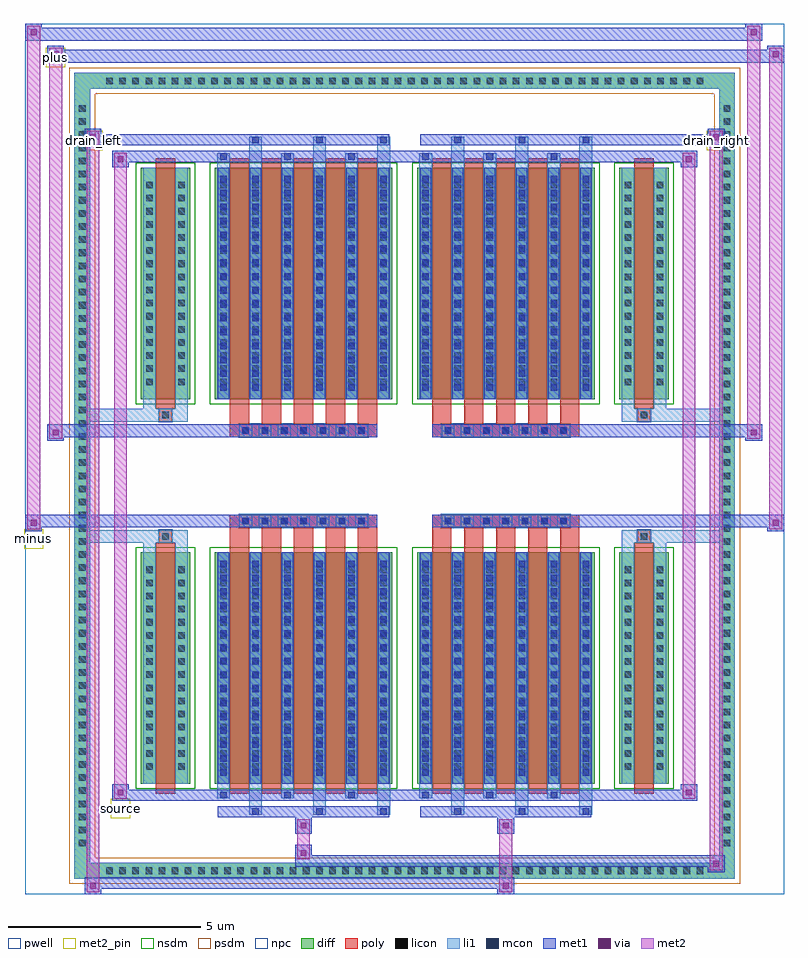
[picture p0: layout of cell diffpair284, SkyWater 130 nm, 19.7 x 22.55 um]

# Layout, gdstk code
import gdstk
lib = gdstk.Library(unit=1e-6, precision=5e-09)
def R(c, l, rs):  # rectangles x0, y0, x1, y1
    for r in rs: c.add(gdstk.rectangle(r[:2], r[2:], *l))
def A(c, l, x, y, w, h, nx, ny, dx, dy):  # array of equal rectangles
    R(c, l, [(x+i*dx, y+j*dy, x+i*dx+w, y+j*dy+h) for i in range(nx) for j in range(ny)])
def P(c, l, *ps):  # polygons
    for p in ps: c.add(gdstk.Polygon(p, *l))
pwell = (64, 44)
diff = (65, 20)
poly = (66, 20)
licon = (66, 44)
li1 = (67, 20)
mcon = (67, 44)
met1 = (68, 20)
via = (68, 44)
met2_pin = (69, 16)
met2 = (69, 20)
nsdm = (93, 44)
psdm = (94, 20)
npc = (95, 20)

diffpair284 = lib.new_cell('diffpair284')
R(diffpair284, pwell, [(-9.83,-10.84,9.83,11.71), (-7.15,-9.03,-0.01,-0.805), (0.01,-9.03,7.15,-0.805), (-7.15,0.805,-0.01,9.03), (0.01,0.805,7.15,9.03)])
A(diffpair284, diff, -7.855, -10.44, 0.41, 0.41, 46, 2, 0.34, 20.47)
A(diffpair284, diff, -8.56, -9.725, 0.41, 0.41, 1, 57, 0, 0.34)
A(diffpair284, diff, 8.15, -9.725, 0.41, 0.41, 1, 57, 0, 0.34)
R(diffpair284, diff, [(-7.855,-10.44,7.855,-10.03), (-8.56,-9.725,-8.15,9.725), (8.15,-9.725,8.56,9.725), (-6.84,-7.985,-5.56,-1.985), (-4.92,-7.985,-0.32,-1.985), (0.32,-7.985,4.92,-1.985), (5.56,-7.985,6.84,-1.985), (-6.84,1.985,-5.56,7.985), (-4.92,1.985,-0.32,7.985), (0.32,1.985,4.92,7.985), (5.56,1.985,6.84,7.985), (-7.855,10.03,7.855,10.44)])
P(diffpair284, diff, [(8.56,10.44),(-8.56,10.44),(-8.56,-10.03),(-8.15,-10.03),(-8.15,10.03),(8.15,10.03),(8.15,-10.03),(-8.15,-10.03),(-8.56,-10.03),(-8.56,-10.44),(8.56,-10.44)])
A(diffpair284, poly, -4.53, -8.235, 0.5, 6.5, 5, 2, 0.83, 9.97)
A(diffpair284, poly, 0.71, -8.235, 0.5, 6.5, 5, 2, 0.83, 9.97)
A(diffpair284, poly, -4.53, -1.735, 0.5, 0.4, 5, 2, 0.83, 3.07)
A(diffpair284, poly, 0.71, -1.735, 0.5, 0.4, 5, 2, 0.83, 3.07)
A(diffpair284, poly, -4.285, -1.335, 0.33, 0.33, 7, 2, 0.5, 2.34)
A(diffpair284, poly, 0.955, -1.335, 0.33, 0.33, 7, 2, 0.5, 2.34)
R(diffpair284, poly, [(-6.45,-8.235,-5.95,-1.735), (5.95,-8.235,6.45,-1.735), (-6.365,-1.735,-6.035,-1.405), (-6.365,-1.735,-6.035,-1.405), (6.035,-1.735,6.365,-1.405), (6.035,-1.735,6.365,-1.405), (-4.53,-1.335,-0.71,-1.005), (0.71,-1.335,4.53,-1.005), (-4.53,1.005,-0.71,1.335), (0.71,1.005,4.53,1.335), (-6.365,1.405,-6.035,1.735), (-6.365,1.405,-6.035,1.735), (6.035,1.405,6.365,1.735), (6.035,1.405,6.365,1.735), (-6.45,1.735,-5.95,8.235), (5.95,1.735,6.45,8.235)])
A(diffpair284, licon, -7.735, -10.32, 0.17, 0.17, 46, 2, 0.34, 20.47)
A(diffpair284, licon, -8.44, -9.605, 0.17, 0.17, 1, 57, 0, 0.34)
A(diffpair284, licon, 8.27, -9.605, 0.17, 0.17, 1, 57, 0, 0.34)
A(diffpair284, licon, -6.7, -7.62, 0.17, 0.17, 1, 16, 0, 0.34)
A(diffpair284, licon, -5.87, -7.62, 0.17, 0.17, 1, 16, 0, 0.34)
A(diffpair284, licon, -4.78, -7.62, 0.17, 0.17, 6, 16, 0.83, 0.34)
A(diffpair284, licon, 0.46, -7.62, 0.17, 0.17, 6, 16, 0.83, 0.34)
A(diffpair284, licon, 5.7, -7.62, 0.17, 0.17, 1, 16, 0, 0.34)
A(diffpair284, licon, 6.53, -7.62, 0.17, 0.17, 1, 16, 0, 0.34)
A(diffpair284, licon, -4.205, -1.255, 0.17, 0.17, 7, 2, 0.5, 2.34)
A(diffpair284, licon, 1.035, -1.255, 0.17, 0.17, 7, 2, 0.5, 2.34)
A(diffpair284, licon, -6.7, 2.35, 0.17, 0.17, 1, 16, 0, 0.34)
A(diffpair284, licon, -5.87, 2.35, 0.17, 0.17, 1, 16, 0, 0.34)
A(diffpair284, licon, -4.78, 2.35, 0.17, 0.17, 6, 16, 0.83, 0.34)
A(diffpair284, licon, 0.46, 2.35, 0.17, 0.17, 6, 16, 0.83, 0.34)
A(diffpair284, licon, 5.7, 2.35, 0.17, 0.17, 1, 16, 0, 0.34)
A(diffpair284, licon, 6.53, 2.35, 0.17, 0.17, 1, 16, 0, 0.34)
R(diffpair284, licon, [(-6.285,-1.655,-6.115,-1.485), (6.115,-1.655,6.285,-1.485), (-6.285,1.485,-6.115,1.655), (6.115,1.485,6.285,1.655)])
A(diffpair284, li1, -7.815, -10.4, 0.33, 0.33, 46, 2, 0.34, 20.47)
A(diffpair284, li1, -8.52, -9.685, 0.33, 0.33, 1, 57, 0, 0.34)
A(diffpair284, li1, 8.19, -9.685, 0.33, 0.33, 1, 57, 0, 0.34)
A(diffpair284, li1, -4.03, -8.79, 0.33, 0.805, 3, 2, 1.66, 16.775)
A(diffpair284, li1, -3.95, -8.79, 0.17, 0.17, 3, 2, 1.66, 17.41)
A(diffpair284, li1, 1.21, -8.79, 0.33, 0.805, 3, 2, 1.66, 16.775)
A(diffpair284, li1, 1.29, -8.79, 0.17, 0.17, 3, 2, 1.66, 17.41)
A(diffpair284, li1, -4.86, -8.36, 0.33, 0.375, 3, 2, 1.66, 16.345)
A(diffpair284, li1, -4.78, -8.36, 0.17, 0.17, 3, 2, 1.66, 16.55)
A(diffpair284, li1, 0.38, -8.36, 0.33, 0.375, 3, 2, 1.66, 16.345)
A(diffpair284, li1, 0.46, -8.36, 0.17, 0.17, 3, 2, 1.66, 16.55)
A(diffpair284, li1, -4.86, -7.985, 0.33, 6, 6, 2, 0.83, 9.97)
A(diffpair284, li1, 0.38, -7.985, 0.33, 6, 6, 2, 0.83, 9.97)
A(diffpair284, li1, -4.78, -7.77, 0.17, 0.17, 6, 16, 0.83, 0.36)
A(diffpair284, li1, -4.78, -7.77, 0.17, 5.57, 6, 2, 0.83, 9.97)
A(diffpair284, li1, 0.46, -7.77, 0.17, 0.17, 6, 16, 0.83, 0.36)
A(diffpair284, li1, 0.46, -7.77, 0.17, 5.57, 6, 2, 0.83, 9.97)
A(diffpair284, li1, -6.78, -7.7, 0.33, 0.33, 1, 16, 0, 0.34)
A(diffpair284, li1, -5.95, -7.7, 0.33, 0.33, 1, 16, 0, 0.34)
A(diffpair284, li1, -4.86, -7.7, 0.33, 0.33, 6, 16, 0.83, 0.34)
A(diffpair284, li1, 0.38, -7.7, 0.33, 0.33, 6, 16, 0.83, 0.34)
A(diffpair284, li1, 5.62, -7.7, 0.33, 0.33, 1, 16, 0, 0.34)
A(diffpair284, li1, 6.45, -7.7, 0.33, 0.33, 1, 16, 0, 0.34)
A(diffpair284, li1, -4.285, -1.335, 0.33, 0.33, 7, 2, 0.5, 2.34)
A(diffpair284, li1, 0.955, -1.335, 0.33, 0.33, 7, 2, 0.5, 2.34)
A(diffpair284, li1, -4.78, 2.2, 0.17, 0.17, 6, 16, 0.83, 0.36)
A(diffpair284, li1, 0.46, 2.2, 0.17, 0.17, 6, 16, 0.83, 0.36)
A(diffpair284, li1, -6.78, 2.27, 0.33, 0.33, 1, 16, 0, 0.34)
A(diffpair284, li1, -5.95, 2.27, 0.33, 0.33, 1, 16, 0, 0.34)
A(diffpair284, li1, -4.86, 2.27, 0.33, 0.33, 6, 16, 0.83, 0.34)
A(diffpair284, li1, 0.38, 2.27, 0.33, 0.33, 6, 16, 0.83, 0.34)
A(diffpair284, li1, 5.62, 2.27, 0.33, 0.33, 1, 16, 0, 0.34)
A(diffpair284, li1, 6.45, 2.27, 0.33, 0.33, 1, 16, 0, 0.34)
R(diffpair284, li1, [(-8.56,-10.44,-8.15,-10.03), (-8.56,-10.44,-8.15,-10.03), (-8.15,-10.44,8.15,-10.03), (8.15,-10.44,8.56,-10.03), (8.15,-10.44,8.56,-10.03), (-8.56,-10.03,-8.15,10.03), (8.15,-10.03,8.56,10.03), (-6.78,-7.985,-6.45,-1.985), (-5.95,-7.985,-5.62,-1.985), (5.62,-7.985,5.95,-1.985), (6.45,-7.985,6.78,-1.985), (-6.78,-1.985,-6.45,-1.405), (-5.95,-1.985,-5.62,-1.405), (5.62,-1.985,5.95,-1.405), (6.45,-1.985,6.78,-1.405), (-8.56,-1.735,-6.365,-1.405), (-6.78,-1.735,-6.365,-1.405), (-6.365,-1.735,-6.035,-1.405), (-6.035,-1.735,-5.62,-1.405), (5.62,-1.735,6.035,-1.405), (6.035,-1.735,6.365,-1.405), (6.035,-1.735,8.56,-1.405), (6.365,-1.735,6.78,-1.405), (-8.56,1.405,-6.365,1.735), (-6.78,1.405,-6.365,1.735), (-6.78,1.405,-6.45,1.985), (-6.365,1.405,-6.035,1.735), (-6.035,1.405,-5.62,1.735), (-5.95,1.405,-5.62,1.985), (5.62,1.405,6.035,1.735), (5.62,1.405,5.95,1.985), (6.035,1.405,6.365,1.735), (6.035,1.405,8.56,1.735), (6.365,1.405,6.78,1.735), (6.45,1.405,6.78,1.985), (-6.78,1.985,-6.45,7.985), (-5.95,1.985,-5.62,7.985), (5.62,1.985,5.95,7.985), (6.45,1.985,6.78,7.985), (-8.56,10.03,-8.15,10.44), (-8.56,10.03,-8.15,10.44), (-8.15,10.03,8.15,10.44), (8.15,10.03,8.56,10.44), (8.15,10.03,8.56,10.44)])
A(diffpair284, mcon, -3.95, -8.79, 0.17, 0.17, 3, 2, 1.66, 17.41)
A(diffpair284, mcon, 1.29, -8.79, 0.17, 0.17, 3, 2, 1.66, 17.41)
A(diffpair284, mcon, -4.78, -8.36, 0.17, 0.17, 3, 2, 1.66, 16.55)
A(diffpair284, mcon, 0.46, -8.36, 0.17, 0.17, 3, 2, 1.66, 16.55)
A(diffpair284, mcon, -4.78, -7.77, 0.17, 0.17, 6, 16, 0.83, 0.36)
A(diffpair284, mcon, 0.46, -7.77, 0.17, 0.17, 6, 16, 0.83, 0.36)
A(diffpair284, mcon, -4.205, -1.255, 0.17, 0.17, 7, 2, 0.5, 2.34)
A(diffpair284, mcon, 1.035, -1.255, 0.17, 0.17, 7, 2, 0.5, 2.34)
A(diffpair284, mcon, -4.78, 2.2, 0.17, 0.17, 6, 16, 0.83, 0.36)
A(diffpair284, mcon, 0.46, 2.2, 0.17, 0.17, 6, 16, 0.83, 0.36)
A(diffpair284, met1, -4.01, -8.85, 0.29, 0.29, 3, 2, 1.66, 17.41)
A(diffpair284, met1, 1.23, -8.85, 0.29, 0.29, 3, 2, 1.66, 17.41)
A(diffpair284, met1, -4.84, -8.42, 0.29, 0.29, 3, 2, 1.66, 16.55)
A(diffpair284, met1, 0.4, -8.42, 0.29, 0.29, 3, 2, 1.66, 16.55)
A(diffpair284, met1, -4.84, -7.985, 0.29, 6, 6, 2, 0.83, 9.97)
A(diffpair284, met1, 0.4, -7.985, 0.29, 6, 6, 2, 0.83, 9.97)
A(diffpair284, met1, -4.84, -7.83, 0.29, 0.29, 6, 16, 0.83, 0.36)
A(diffpair284, met1, 0.4, -7.83, 0.29, 0.29, 6, 16, 0.83, 0.36)
A(diffpair284, met1, -4.265, -1.315, 0.29, 0.29, 7, 2, 0.5, 2.34)
A(diffpair284, met1, 0.975, -1.315, 0.29, 0.29, 7, 2, 0.5, 2.34)
A(diffpair284, met1, -4.84, 2.14, 0.29, 0.29, 6, 16, 0.83, 0.36)
A(diffpair284, met1, 0.4, 2.14, 0.29, 0.29, 6, 16, 0.83, 0.36)
R(diffpair284, met1, [(-8.29,-10.84,-7.86,-10.41), (2.405,-10.84,2.835,-10.41), (-8.29,-10.7,2.835,-10.41), (7.86,-10.27,8.29,-9.84), (-2.835,-10.13,8.29,-9.84), (-2.835,-9.99,-2.405,-9.56), (-2.835,-9.28,-2.405,-8.85), (2.405,-9.28,2.835,-8.85), (-4.84,-8.85,-0.4,-8.56), (0.4,-8.85,4.84,-8.56), (-7.58,-8.42,-7.15,-7.99), (-7.58,-8.42,-4.84,-8.13), (-4.84,-8.42,-0.4,-8.13), (-0.4,-8.42,0.4,-8.13), (0.4,-8.42,4.84,-8.13), (4.84,-8.42,7.58,-8.13), (7.15,-8.42,7.58,-7.99), (-9.83,-1.435,-9.4,-1.005), (9.4,-1.435,9.83,-1.005), (-9.83,-1.335,-0.71,-1.005), (-4.53,-1.335,-0.71,-1.005), (0.71,-1.335,4.53,-1.005), (0.71,-1.335,9.83,-1.005), (-9.26,0.905,-8.83,1.335), (8.83,0.905,9.26,1.335), (-9.26,1.005,-4.53,1.335), (-4.53,1.005,-0.71,1.335), (0.71,1.005,4.53,1.335), (4.53,1.005,9.26,1.335), (-7.58,7.99,-7.15,8.42), (7.15,7.99,7.58,8.42), (-7.58,8.13,-4.84,8.42), (-4.84,8.13,-0.4,8.42), (-0.4,8.13,0.4,8.42), (0.4,8.13,4.84,8.42), (4.84,8.13,7.58,8.42), (-8.29,8.56,-7.86,8.99), (-8.29,8.56,-4.84,8.85), (-4.84,8.56,-0.4,8.85), (0.4,8.56,4.84,8.85), (4.84,8.56,8.29,8.85), (7.86,8.56,8.29,8.99), (-9.26,10.71,-8.83,11.14), (-9.26,10.71,-7.15,11.04), (-7.15,10.71,7.15,11.04), (7.15,10.71,9.83,11.04), (9.4,10.71,9.83,11.14), (-9.83,11.28,-9.4,11.71), (-9.83,11.28,-7.15,11.61), (-7.15,11.28,7.15,11.61), (7.15,11.28,9.26,11.61), (8.83,11.28,9.26,11.71)])
R(diffpair284, via, [(-8.15,-10.7,-8,-10.55), (2.545,-10.7,2.695,-10.55), (8,-10.13,8.15,-9.98), (-2.695,-9.85,-2.545,-9.7), (-2.695,-9.14,-2.545,-8.99), (2.545,-9.14,2.695,-8.99), (-7.44,-8.28,-7.29,-8.13), (7.29,-8.28,7.44,-8.13), (-9.69,-1.295,-9.54,-1.145), (9.54,-1.295,9.69,-1.145), (-9.12,1.045,-8.97,1.195), (8.97,1.045,9.12,1.195), (-7.44,8.13,-7.29,8.28), (7.29,8.13,7.44,8.28), (-8.15,8.7,-8,8.85), (8,8.7,8.15,8.85), (-9.12,10.85,-8.97,11), (9.54,10.85,9.69,11), (-9.69,11.42,-9.54,11.57), (8.97,11.42,9.12,11.57)])
R(diffpair284, met2_pin, [(-7.615,-8.87,-7.115,-8.37), (-9.865,-1.885,-9.365,-1.385), (-8.325,8.44,-7.825,8.94), (7.825,8.44,8.325,8.94), (-9.295,10.59,-8.795,11.09)])
R(diffpair284, met2, [(-8.24,-10.79,-7.91,-10.46), (-8.24,-10.79,-7.91,8.94), (2.455,-10.79,2.785,-10.46), (2.455,-10.46,2.785,-9.23), (7.91,-10.22,8.24,-9.89), (7.91,-10.22,8.24,8.94), (-2.785,-9.94,-2.455,-9.61), (-2.785,-9.61,-2.455,-9.23), (-2.785,-9.23,-2.455,-8.9), (2.455,-9.23,2.785,-8.9), (-7.53,-8.37,-7.2,-8.04), (-7.53,-8.37,-7.2,8.37), (7.2,-8.37,7.53,-8.04), (7.2,-8.37,7.53,8.37), (-9.78,-1.385,-9.45,-1.055), (-9.78,-1.385,-9.45,11.66), (9.45,-1.385,9.78,-1.055), (9.45,-1.385,9.78,11.09), (-9.21,0.955,-8.88,1.285), (-9.21,0.955,-8.88,11.09), (8.88,0.955,9.21,1.285), (8.88,0.955,9.21,11.66), (-7.53,8.04,-7.2,8.37), (7.2,8.04,7.53,8.37), (-8.24,8.61,-7.91,8.94), (7.91,8.61,8.24,8.94), (-9.21,10.76,-8.88,11.09), (9.45,10.76,9.78,11.09), (-9.78,11.33,-9.45,11.66), (8.88,11.33,9.21,11.66)])
P(diffpair284, met2, [(9.78,-1.385),(9.78,-1.385),(9.78,-1.055),(9.78,-1.055)],
  [(9.78,10.76),(9.78,10.76),(9.78,11.09),(9.78,11.09)],
  [(-9.45,-1.385),(-9.45,-1.385),(-9.45,-1.055),(-9.45,-1.055)],
  [(-9.45,11.33),(-9.45,11.33),(-9.45,11.66),(-9.45,11.66)],
  [(9.21,0.955),(9.21,0.955),(9.21,1.285),(9.21,1.285)],
  [(9.21,11.33),(9.21,11.33),(9.21,11.66),(9.21,11.66)],
  [(-8.88,0.955),(-8.88,0.955),(-8.88,1.285),(-8.88,1.285)],
  [(-8.88,10.76),(-8.88,10.76),(-8.88,11.09),(-8.88,11.09)],
  [(-7.91,-10.79),(-7.91,-10.79),(-7.91,-10.46),(-7.91,-10.46)],
  [(-7.91,8.61),(-7.91,8.61),(-7.91,8.94),(-7.91,8.94)],
  [(8.24,-10.22),(8.24,-10.22),(8.24,-9.89),(8.24,-9.89)],
  [(8.24,8.61),(8.24,8.61),(8.24,8.94),(8.24,8.94)],
  [(-7.2,-8.37),(-7.2,-8.37),(-7.2,-8.04),(-7.2,-8.04)],
  [(-7.2,8.04),(-7.2,8.04),(-7.2,8.37),(-7.2,8.37)],
  [(7.53,-8.37),(7.53,-8.37),(7.53,-8.04),(7.53,-8.04)],
  [(7.53,8.04),(7.53,8.04),(7.53,8.37),(7.53,8.37)])
R(diffpair284, nsdm, [(-6.97,-8.115,-5.43,-1.855), (-5.05,-8.115,-0.19,-1.855), (0.19,-8.115,5.05,-1.855), (5.43,-8.115,6.97,-1.855), (-6.97,1.855,-5.43,8.115), (-5.05,1.855,-0.19,8.115), (0.19,1.855,5.05,8.115), (5.43,1.855,6.97,8.115)])
P(diffpair284, psdm, [(8.69,10.57),(-8.69,10.57),(-8.69,-9.9),(-8.02,-9.9),(-8.02,9.9),(8.02,9.9),(8.02,-9.9),(-8.02,-9.9),(-8.69,-9.9),(-8.69,-10.57),(8.69,-10.57)])
A(diffpair284, npc, -4.305, -1.355, 0.37, 0.37, 7, 2, 0.5, 2.34)
A(diffpair284, npc, 0.935, -1.355, 0.37, 0.37, 7, 2, 0.5, 2.34)
R(diffpair284, npc, [(-6.385,-1.755,-6.015,-1.385), (6.015,-1.755,6.385,-1.385), (-4.305,-1.355,-3.435,-0.985), (-4.305,-1.355,-3.435,-0.985), (-3.805,-1.355,-2.935,-0.985), (-3.805,-1.355,-2.935,-0.985), (-3.305,-1.355,-2.435,-0.985), (-3.305,-1.355,-2.435,-0.985), (-2.805,-1.355,-1.935,-0.985), (-2.805,-1.355,-1.935,-0.985), (-2.305,-1.355,-1.435,-0.985), (-2.305,-1.355,-1.435,-0.985), (-1.805,-1.355,-0.935,-0.985), (-1.805,-1.355,-0.935,-0.985), (0.935,-1.355,1.805,-0.985), (0.935,-1.355,1.805,-0.985), (1.435,-1.355,2.305,-0.985), (1.435,-1.355,2.305,-0.985), (1.935,-1.355,2.805,-0.985), (1.935,-1.355,2.805,-0.985), (2.435,-1.355,3.305,-0.985), (2.435,-1.355,3.305,-0.985), (2.935,-1.355,3.805,-0.985), (2.935,-1.355,3.805,-0.985), (3.435,-1.355,4.305,-0.985), (3.435,-1.355,4.305,-0.985), (-4.305,0.985,-3.435,1.355), (-4.305,0.985,-3.435,1.355), (-3.805,0.985,-2.935,1.355), (-3.805,0.985,-2.935,1.355), (-3.305,0.985,-2.435,1.355), (-3.305,0.985,-2.435,1.355), (-2.805,0.985,-1.935,1.355), (-2.805,0.985,-1.935,1.355), (-2.305,0.985,-1.435,1.355), (-2.305,0.985,-1.435,1.355), (-1.805,0.985,-0.935,1.355), (-1.805,0.985,-0.935,1.355), (0.935,0.985,1.805,1.355), (0.935,0.985,1.805,1.355), (1.435,0.985,2.305,1.355), (1.435,0.985,2.305,1.355), (1.935,0.985,2.805,1.355), (1.935,0.985,2.805,1.355), (2.435,0.985,3.305,1.355), (2.435,0.985,3.305,1.355), (2.935,0.985,3.805,1.355), (2.935,0.985,3.805,1.355), (3.435,0.985,4.305,1.355), (3.435,0.985,4.305,1.355), (-6.385,1.385,-6.015,1.755), (6.015,1.385,6.385,1.755)])
diffpair284.add(gdstk.Label('minus', (-9.615,-1.635), layer=69, texttype=5))
diffpair284.add(gdstk.Label('drain_right', (8.075,8.69), layer=69, texttype=5))
diffpair284.add(gdstk.Label('drain_left', (-8.075,8.69), layer=69, texttype=5))
diffpair284.add(gdstk.Label('source', (-7.365,-8.62), layer=69, texttype=5))
diffpair284.add(gdstk.Label('plus', (-9.045,10.84), layer=69, texttype=5))

lib.write_gds('diffpair284.gds')
